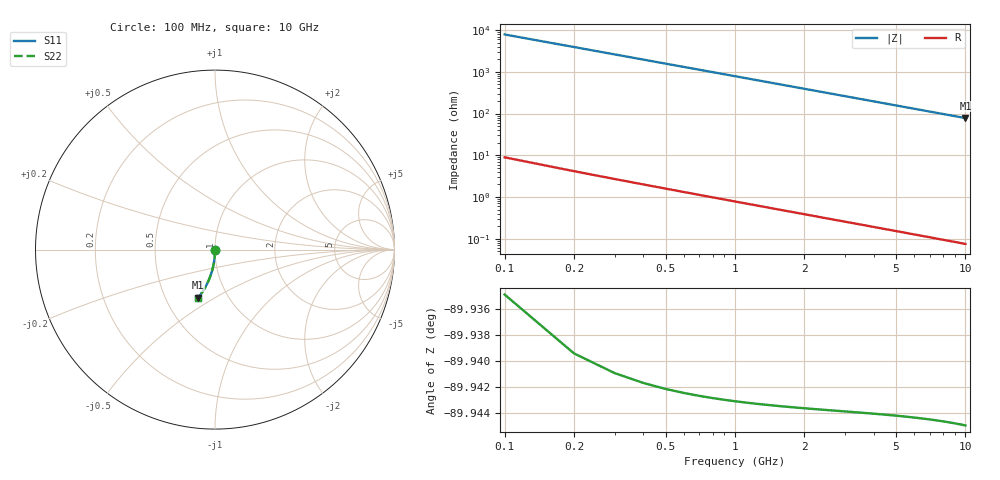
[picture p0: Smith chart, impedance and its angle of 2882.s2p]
# Hz S RI R 50.00
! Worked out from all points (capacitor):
!   100 points, 100 MHz to 10 GHz, reference 50 ohm
!   read as one part in shunt: C = 202 fF near 100 MHz
!   lowest |Z| = 78.2 ohm at 10 GHz (marker M1)
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1e8  5.73e-05 -0.00295  0.9999 -0.0034  0.9999 -0.0034  5.73e-05 -0.00295
2e8  2.46e-05 -0.00589  0.9999 -0.00679  0.9999 -0.00679  2.46e-05 -0.00589
3e8  -2.82e-05 -0.00884  0.9998 -0.0102  0.9998 -0.0102  -2.82e-05 -0.00884
4e8  -0.000101 -0.0118  0.9998 -0.0136  0.9998 -0.0136  -0.000101 -0.0118
5e8  -0.000194 -0.0147  0.9997 -0.017  0.9997 -0.017  -0.000194 -0.0147
6e8  -0.000307 -0.0177  0.9995 -0.0204  0.9995 -0.0204  -0.000307 -0.0177
7e8  -0.00044 -0.0206  0.9994 -0.0238  0.9994 -0.0238  -0.00044 -0.0206
8e8  -0.000593 -0.0236  0.9993 -0.0272  0.9993 -0.0272  -0.000593 -0.0236
9e8  -0.000766 -0.0265  0.9991 -0.0306  0.9991 -0.0306  -0.000766 -0.0265
1.1e9  -0.00117 -0.0324  0.9987 -0.0374  0.9987 -0.0374  -0.00117 -0.0324
1.4e9  -0.00193 -0.0412  0.9979 -0.0475  0.9979 -0.0475  -0.00193 -0.0412
1.8e9  -0.00322 -0.0529  0.9966 -0.061  0.9966 -0.061  -0.00322 -0.0529
2.1e9  -0.0044 -0.0617  0.9954 -0.0712  0.9954 -0.0712  -0.0044 -0.0617
2.5e9  -0.00624 -0.0733  0.9935 -0.0846  0.9935 -0.0846  -0.00624 -0.0733
2.9e9  -0.0084 -0.0849  0.9914 -0.098  0.9914 -0.098  -0.0084 -0.0849
3.4e9  -0.0115 -0.0992  0.9882 -0.1147  0.9882 -0.1147  -0.0115 -0.0992
4.2e9  -0.0176 -0.1219  0.9821 -0.141  0.9821 -0.141  -0.0176 -0.1219
5.1e9  -0.0257 -0.1469  0.9738 -0.1701  0.9738 -0.1701  -0.0257 -0.1469
5.9e9  -0.0342 -0.1686  0.9652 -0.1955  0.9652 -0.1955  -0.0342 -0.1686
6.7e9  -0.0438 -0.1896  0.9555 -0.2202  0.9555 -0.2202  -0.0438 -0.1896
8.4e9  -0.0676 -0.232  0.9315 -0.2705  0.9315 -0.2705  -0.0676 -0.232
1e10  -0.0935 -0.2685  0.9052 -0.3145  0.9052 -0.3145  -0.0935 -0.2685
